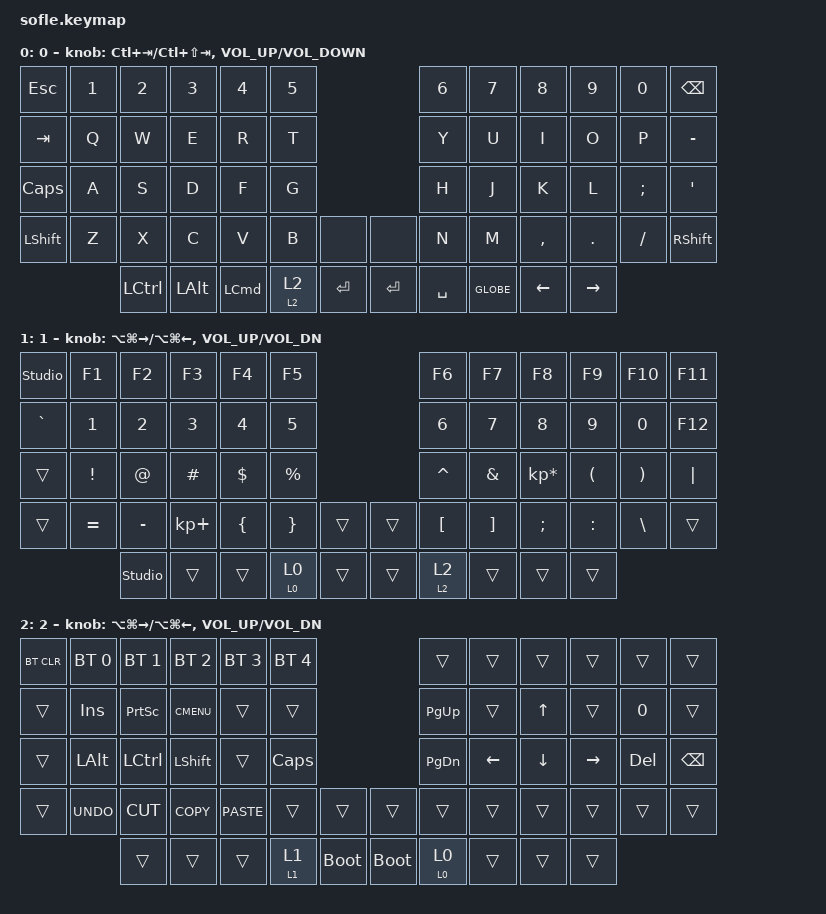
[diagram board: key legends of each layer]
/*
 * Copyright (c) 2020 The ZMK Contributors
 *
 * SPDX-License-Identifier: MIT
 */

#include <behaviors.dtsi>
#include <dt-bindings/zmk/bt.h>
#include <dt-bindings/zmk/keys.h>

#define BASE 0
#define LOWER 1
#define RAISE 2
#define ADJUST 3

/ {
    // Activate ADJUST layer by pressing raise and lower

    conditional_layers { compatible = "zmk,conditional-layers"; };

    combos {
        compatible = "zmk,combos";

        combo_enter {
            bindings = <&kp ENTER>;
            key-positions = <35 36>;
            layers = <0 1 2>;
            timeout-ms = <300>;
        };

        up_arrow {
            bindings = <&kp UP_ARROW>;
            key-positions = <36 59>;
        };

        down_arrow {
            bindings = <&kp DOWN_ARROW>;
            key-positions = <36 58>;
        };
    };

    behaviors {
        mo_to: mo_to {
            compatible = "zmk,behavior-hold-tap";
            label = "MO_TO";
            bindings = <&mo>, <&to>;

            #binding-cells = <2>;
            tapping-term-ms = <200>;
        };
    };

    keymap {
        compatible = "zmk,keymap";

        zero {
            label = "0";

            // ------------------------------------------------------------------------------------------------------------
            // |   `   |  1  |  2  |  3   |  4   |  5   |                   |  6   |  7    |  8    |  9   |   0   |       |
            // |  ESC  |  Q  |  W  |  E   |  R   |  T   |                   |  Y   |  U    |  I    |  O   |   P   | BKSPC |
            // |  TAB  |  A  |  S  |  D   |  F   |  G   |                   |  H   |  J    |  K    |  L   |   ;   |   '   |
            // | SHIFT |  Z  |  X  |  C   |  V   |  B   |  MUTE  |  |       |  N   |  M    |  ,    |  .   |   /   | SHIFT |
            //               | GUI | ALT  | CTRL | LOWER|  ENTER |  | SPACE | RAISE| CTRL  | ALT   | GUI  |

            bindings = <
&kp ESCAPE    &kp N1  &kp N2            &kp N3        &kp N4            &kp N5                              &kp N6     &kp N7     &kp N8          &kp N9           &kp N0    &kp BACKSPACE
&kp TAB       &kp Q   &kp W             &kp E         &kp R             &kp T                               &kp Y      &kp U      &kp I           &kp O            &kp P     &kp MINUS
&kp CAPSLOCK  &kp A   &kp S             &kp D         &kp F             &kp G                               &kp H      &kp J      &kp K           &kp L            &kp SEMI  &kp SQT
&kp LSHFT     &kp Z   &kp X             &kp C         &kp V             &kp B       &none        &none      &kp N      &kp M      &kp COMMA       &kp DOT          &kp FSLH  &kp RSHIFT
                      &kp LEFT_CONTROL  &kp LEFT_ALT  &kp LEFT_COMMAND  &mo_to 2 2  &kp ENTER    &kp ENTER  &kp SPACE  &kp GLOBE  &kp LEFT_ARROW  &kp RIGHT_ARROW
            >;

            sensor-bindings =
                <&inc_dec_kp LC(TAB) LC(LS(TAB))>,
                <&inc_dec_kp C_VOLUME_UP C_VOLUME_DOWN>;
        };

        one {
            label = "1";

            // TODO: Some binds are waiting for shifted keycode support.
            // ------------------------------------------------------------------------------------------------------------
            // |       |  F1 |  F2 |  F3  |  F4  |  F5  |                   |  F6  |  F7   |  F8   |  F9  |  F10  |  F11  |
            // |   `   |  1  |  2  |  3   |  4   |  5   |                   |  6   |  7    |  8    |  9   |   0   |  F12  |
            // |       |  !  |  @  |  #   |  $   |  %   |                   |  ^   |  &    |  *    |  (   |   )   |   |   |
            // |       |  =  |  -  |  +   |  {   |  }   |        |  |       |  [   |  ]    |  ;    |  :   |   \   |       |
            //               |     |      |      |      |        |  |       |      |       |       |      |

            bindings = <
&studio_unlock  &kp F1     &kp F2          &kp F3       &kp F4    &kp F5                        &kp F6      &kp F7    &kp F8           &kp F9     &kp F10   &kp F11
&kp GRAVE       &kp N1     &kp N2          &kp N3       &kp N4    &kp N5                        &kp N6      &kp N7    &kp N8           &kp N9     &kp N0    &kp F12
&trans          &kp EXCL   &kp AT          &kp HASH     &kp DLLR  &kp PRCNT                     &kp CARET   &kp AMPS  &kp KP_MULTIPLY  &kp LPAR   &kp RPAR  &kp PIPE
&trans          &kp EQUAL  &kp MINUS       &kp KP_PLUS  &kp LBRC  &kp RBRC    &trans    &trans  &kp LBKT    &kp RBKT  &kp SEMI         &kp COLON  &kp BSLH  &trans
                           &studio_unlock  &trans       &trans    &mo_to 0 0  &trans    &trans  &mo_to 2 2  &trans    &trans           &trans
            >;

            sensor-bindings =
                <&inc_dec_kp LA(LG(RIGHT)) LA(LG(LEFT_ARROW))>,
                <&inc_dec_kp C_VOLUME_UP C_VOL_DN>;
        };

        two {
            label = "2";

            // ------------------------------------------------------------------------------------------------------------
            // | BTCLR | BT1  | BT2  |  BT3  |  BT4  |  BT5 |                |      |      |       |      |       |       |
            // |       | INS  | PSCR | GUI   |       |      |                | PGUP |      |   ^   |      |       |       |
            // |       | ALT  | CTRL | SHIFT |       | CAPS |                | PGDN |   <- |   v   |  ->  |  DEL  | BKSPC |
            // |       | UNDO | CUT  | COPY  | PASTE |      |      |  |      |      |      |       |      |       |       |
            //                |      |       |       |      |      |  |      |      |      |       |      |

            bindings = <
&bt BT_CLR  &bt BT_SEL 0  &bt BT_SEL 1  &bt BT_SEL 2  &bt BT_SEL 3  &bt BT_SEL 4                              &trans      &trans    &trans    &trans     &trans   &trans
&trans      &kp INS       &kp PSCRN     &kp K_CMENU   &trans        &trans                                    &kp PG_UP   &trans    &kp UP    &trans     &kp N0   &trans
&trans      &kp LALT      &kp LCTRL     &kp LSHFT     &trans        &kp CLCK                                  &kp PG_DN   &kp LEFT  &kp DOWN  &kp RIGHT  &kp DEL  &kp BSPC
&trans      &kp K_UNDO    &kp K_CUT     &kp K_COPY    &kp K_PASTE   &trans        &trans         &trans       &trans      &trans    &trans    &trans     &trans   &trans
                          &trans        &trans        &trans        &mo_to 1 1    &bootloader    &bootloader  &mo_to 0 0  &trans    &trans    &trans
            >;

            sensor-bindings =
                <&inc_dec_kp LA(LG(RIGHT)) LA(LG(LEFT))>,
                <&inc_dec_kp C_VOLUME_UP C_VOL_DN>;
        };
    };
};
